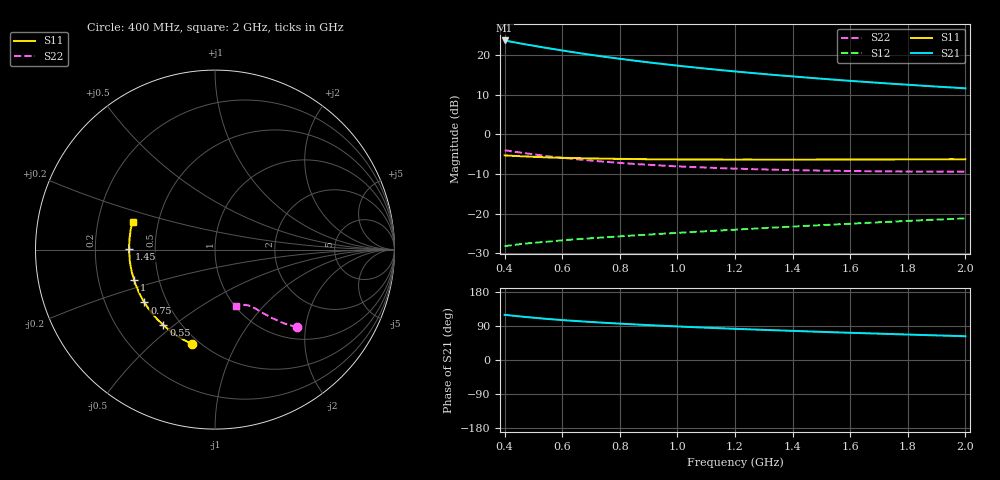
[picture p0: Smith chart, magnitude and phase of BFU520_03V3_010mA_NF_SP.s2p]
! Filename:  P:\Prog\Test\Noise\ATS_data\Testdata_Net\06 Compressed Noise after Statistics\BFU520_APG2013_37_A05_03p3V_010mA_NF_CM01_D.sf
! Date/Time: Fri 26/Apr/2013 14:13:18
! BFU520_APG2013_37_A05_03p3V_1to20mA_NF_CM01_Bias6_R.sf
! Noise Parameter Data File
! BFU520_APG2013_37_A05_03p3V_1to20mA_NF_CM01
! Date/time: Tue Apr 23 15:18:41 2013
! VAR V_out= 3.300000
! VAR I_out= 10.005000
! VAR V_in= 0.845300
! VAR I_in= 0.117150
! Device data file deembeded for feedlines and parallel
! Original file: \06 Compressed Noise after Statistics\BFU520_APG2013_37_A05_03p3V_010mA_NF_CM01_R.sf
! Feed-files: PR047V01_250413_Feed1.s2p, PR047V01_250413_Feed2.s2p
! Parallel-file: PR047V01_250413_Par.s2p
# MHz S MA R 50
!  Freq-MHz  S11-mag  S11-arg  S21-mag  S21-arg  S12-mag  S12-arg  S22-mag  S22-arg
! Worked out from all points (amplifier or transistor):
!   37 points, 400 MHz to 2 GHz, reference 50 ohm
!   highest |S21| = 23.6 dB at 400 MHz (marker M1)
!   |S21| within 3 dB of that: start of sweep to 642.1 MHz
!   unconditionally stable (mu >= 1): 1.698 GHz to end of sweep
!   at 500 MHz: K = 0.49, MSG = 24.8 dB, |S12| = -27.4 dB
!   at 1.1 GHz: K = 0.84, MSG = 20.5 dB, |S12| = -24.5 dB
!   at 2 GHz: K = 1.05, MAG = 15.1 dB, |S12| = -21.2 dB
!   lowest NFmin = 0.85 dB at 440 MHz
!   S11 on the Smith chart (normalised r, x): 400 MHz: 0.46, -0.68; 550 MHz: 0.40, -0.46; 750 MHz: 0.37, -0.29; 1 GHz: 0.36, -0.16; 1.45 GHz: 0.35, +0.01; 2 GHz: 0.36, +0.14
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400  0.541 -103.5  15.21 119.3  0.03877 51.8  0.6278 -43.2
433  0.5328 -108.6  14.44 116.6  0.04024 50.8  0.6026 -44.7
460  0.5268 -112.5  13.85 114.5  0.04134 50.1  0.5843 -45.8
500  0.5194 -117.9  13.05 111.7  0.04273 49.2  0.5581 -47.1
550  0.5098 -124.3  12.17 108.3  0.0442 48.5  0.5276 -48.5
600  0.5043 -129.6  11.38 105.4  0.04593 48.1  0.5047 -49.8
650  0.4996 -134.5  10.66 102.8  0.04743 47.8  0.4837 -50.9
700  0.495 -138.9  10.02 100.3  0.0488 47.6  0.4652 -51.7
750  0.4915 -143.2  9.448 98.0  0.05022 47.6  0.4493 -52.6
800  0.4889 -146.8  8.937 96.0  0.05159 47.7  0.435 -53.4
850  0.4871 -150.4  8.476 94.0  0.05295 47.7  0.4223 -54.0
900  0.4835 -153.9  8.054 92.0  0.05428 47.9  0.4117 -54.8
950  0.483 -156.9  7.677 90.3  0.05566 48.1  0.4017 -55.4
1000  0.4812 -159.7  7.328 88.5  0.05705 48.4  0.3936 -55.9
1100  0.4802 -165.0  6.712 85.3  0.05982 48.9  0.3798 -57.1
1200  0.4786 -170.1  6.189 82.3  0.06258 49.4  0.3685 -58.5
1300  0.4778 -174.5  5.741 79.5  0.06549 49.9  0.3598 -59.6
1450  0.4786 179.3  5.179 75.5  0.06998 50.6  0.3504 -61.6
1500  0.4792 177.6  5.014 74.3  0.07145 50.8  0.3482 -62.3
1600  0.4791 173.8  4.707 71.8  0.07442 51.1  0.3439 -63.7
1750  0.4809 168.9  4.318 68.3  0.07909 51.6  0.3392 -65.8
2000  0.4837 161.6  3.786 62.8  0.08675 52.1  0.3375 -69.7
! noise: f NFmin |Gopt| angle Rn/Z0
400  0.9384  0.05506  149.7  0.1019
460  0.8635  0.06733  167.2  0.0935
600  0.9366  0.04947  163.8  0.1046
800  0.9295  0.09903  169.3  0.0897
1000  0.9568  0.1125  168.6  0.0878
1200  0.9857  0.1269  171.3  0.0877
1400  1.002  0.1484  175.9  0.0867
1600  1.039  0.1546  178.5  0.0888
1800  0.9962  0.1895  -175.9  0.0831
2000  1.086  0.1986  -172.5  0.0864
